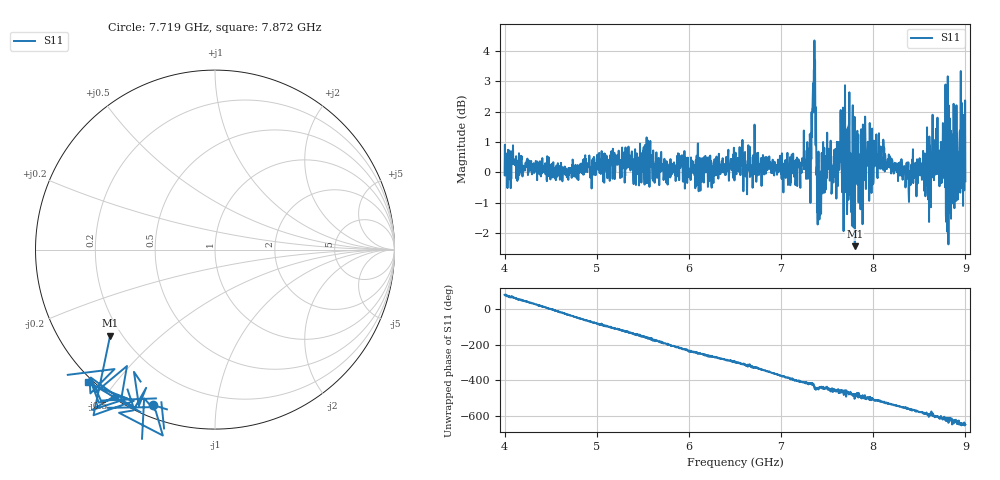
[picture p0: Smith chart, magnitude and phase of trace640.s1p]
! Created with skrf 1.8.0 (http://scikit-rf.org).
# Hz S RI R 50.0
!freq ReS11 ImS11
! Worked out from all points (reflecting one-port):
!   1601 points, 4 GHz to 9 GHz, reference 50 ohm
!   lowest |S11| = -2.4 dB at 7.8 GHz (marker M1), VSWR 7.20, Z = 7.81 - j17.5 ohm
!   phase of S11 starts at 80 deg and turns -730 deg over the sweep
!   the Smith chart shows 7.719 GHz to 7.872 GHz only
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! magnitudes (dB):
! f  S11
! 4 GHz  -0.1
! 4.1 GHz  0.4
! 4.625 GHz  -0.3
! 5.25 GHz  0.2
! 5.875 GHz  0.1
! 6.5 GHz  0.2
! 7.125 GHz  0.1
! 7.294 GHz  0.0
! 7.356 GHz  3.4
! 7.409 GHz  -1.3
! 7.481 GHz  -0.6
! 7.575 GHz  0.1
! 7.669 GHz  0.9
! 7.7 GHz  -0.3
! 7.75 GHz  -0.4
! 7.775 GHz  1.7
! 7.8 GHz  -2.4
! 8.106 GHz  0.1
! 8.375 GHz  0.1
! 8.438 GHz  0.3
! 8.612 GHz  0.3
! 8.656 GHz  0.9
! 8.725 GHz  0.4
! 8.759 GHz  0.5
! 8.822 GHz  2.2
! 8.856 GHz  -0.3
! 8.959 GHz  2.3
! 9 GHz  -0.3
